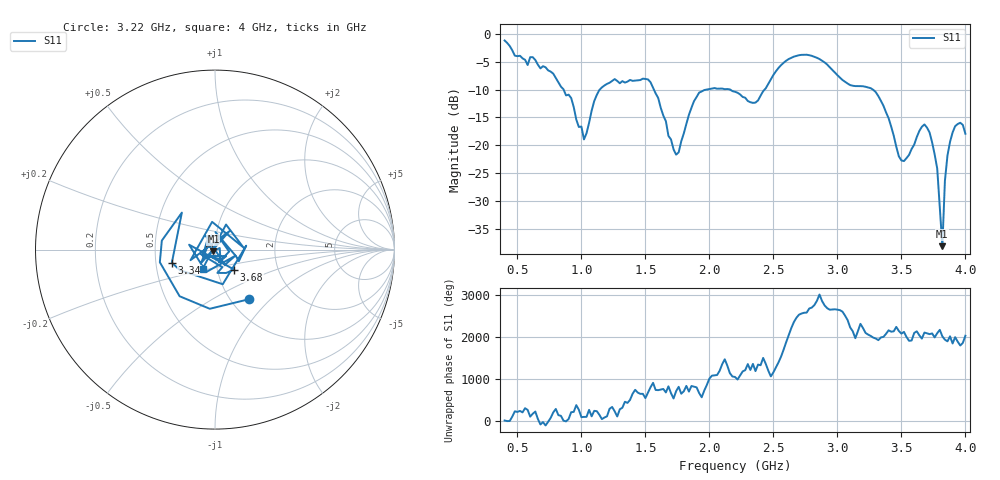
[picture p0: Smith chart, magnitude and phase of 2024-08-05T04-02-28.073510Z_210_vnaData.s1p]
!Created with skrf (http://scikit-rf.org).
# Hz S RI R 50.0
!freq ReS11 ImS11
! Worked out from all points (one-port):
!   181 points, 400 MHz to 4 GHz, reference 50 ohm
!   lowest |S11| = -38.1 dB at 3.82 GHz (marker M1), VSWR 1.03, Z = 49.1 - j0.836 ohm
!   |S11| at or under -10 dB: 861.2 MHz to 1.143 GHz (281.6 MHz wide, 28.1 % of centre); 1.567 GHz to 1.974 GHz (407.3 MHz wide, 23 % of centre); 3.278 GHz to end of sweep (the widest 3 of 4)
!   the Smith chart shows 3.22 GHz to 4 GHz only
!   S11 on the Smith chart (normalised r, x): 3.22 GHz: 1.21, -0.76; 3.34 GHz: 0.61, -0.09; 3.68 GHz: 1.20, -0.27; 4 GHz: 0.85, -0.19
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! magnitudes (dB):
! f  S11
! 400 MHz  -1.2
! 860 MHz  -9.9
! 920 MHz  -11.5
! 1.02 GHz  -18.9
! 1.14 GHz  -10.1
! 1.3 GHz  -8.8
! 1.54 GHz  -8.7
! 1.72 GHz  -20.7
! 1.76 GHz  -21.3
! 1.84 GHz  -14.5
! 1.92 GHz  -10.5
! 2.2 GHz  -10.4
! 2.36 GHz  -12.3
! 2.66 GHz  -4.1
! 2.86 GHz  -4.5
! 3.1 GHz  -9.2
! 3.22 GHz  -9.5
! 3.34 GHz  -12.0
! 3.48 GHz  -22.0
! 3.56 GHz  -21.7
! 3.68 GHz  -16.2
! 3.72 GHz  -17.7
! 3.78 GHz  -24.2
! 3.82 GHz  -38.1
! 3.84 GHz  -26.4
! 3.88 GHz  -19.4
! 3.94 GHz  -16.2
! 4 GHz  -17.9
